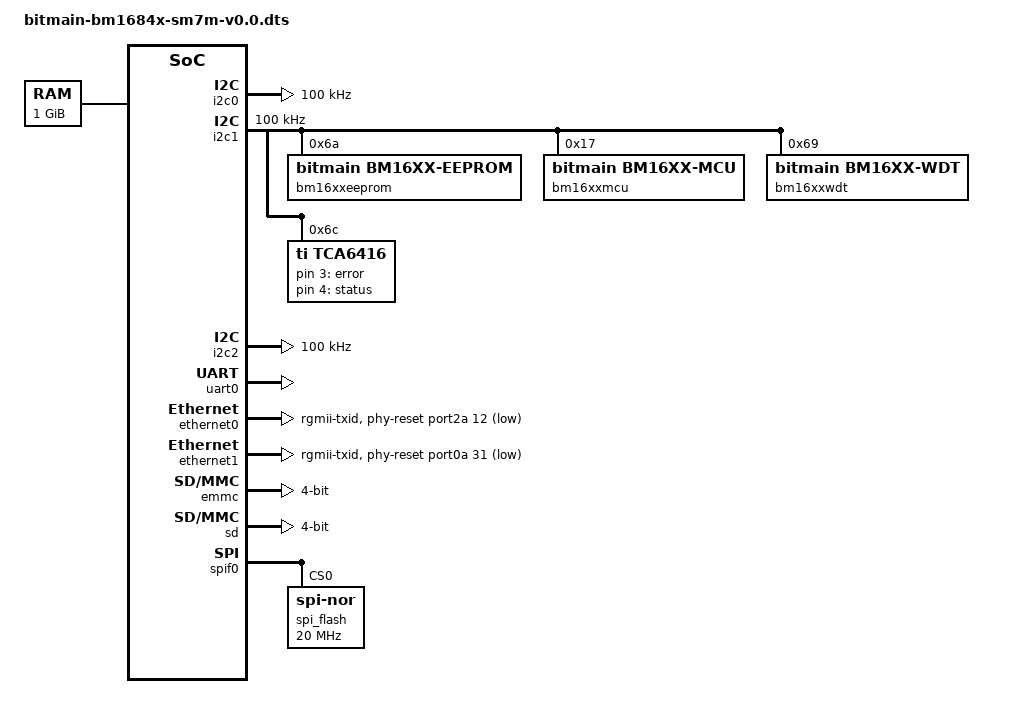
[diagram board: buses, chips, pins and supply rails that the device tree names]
/dts-v1/;

#include <dt-bindings/interrupt-controller/arm-gic.h>
#include <dt-bindings/gpio/gpio.h>

/ {
	compatible = "linux,dummy-virt";
	#size-cells = <0x2>;
	#address-cells = <0x2>;
	interrupt-parent = <&gic>;

	gic: interrupt-controller {
		compatible = "arm,cortex-a15-gic";
		ranges;
		#size-cells = <0x2>;
		#address-cells = <0x2>;
		interrupt-controller;
		#interrupt-cells = <0x3>;
		reg = <0x0 0x50001000 0x0 0x1000>,
		      <0x0 0x50002000 0x0 0x2000>;
	};

	psci {
		migrate = <0xc4000005>;
		cpu_on = <0xc4000003>;
		cpu_off = <0x84000002>;
		cpu_suspend = <0xc4000001>;
		sys_poweroff = <0x84000008>;
		sys_reset = <0x84000009>;
		method = "smc";
		compatible = "arm,psci-0.2", "arm,psci";
	};

	cpus {
		#size-cells = <0x0>;
		#address-cells = <0x1>;
		cpu-map {
			cluster0 {
				core0 {
					cpu = <&cpu0>;
				};
				core1 {
					cpu = <&cpu1>;
				};
				core2 {
					cpu = <&cpu2>;
				};
				core3 {
					cpu = <&cpu3>;
				};
		    };
			cluster1 {
				core0 {
					cpu = <&cpu4>;
				};
				core1 {
					cpu = <&cpu5>;
				};
				core2 {
					cpu = <&cpu6>;
				};
				core3 {
					cpu = <&cpu7>;
				};
			};
		};

		cpu0: cpu@0 {
			reg = <0x0>;
			enable-method = "psci";
			compatible = "arm,cortex-a53";
			device_type = "cpu";
		};

		cpu1: cpu@1 {
			reg = <0x1>;
			enable-method = "psci";
			compatible = "arm,cortex-a53";
			device_type = "cpu";
		};

		cpu2: cpu@2 {
			reg = <0x2>;
			enable-method = "psci";
			compatible = "arm,cortex-a53";
			device_type = "cpu";
		};

		cpu3: cpu@3 {
			reg = <0x3>;
			enable-method = "psci";
			compatible = "arm,cortex-a53";
			device_type = "cpu";
		};

		cpu4: cpu@100 {
			reg = <0x100>;
			enable-method = "psci";
			compatible = "arm,cortex-a53";
			device_type = "cpu";
		};

		cpu5: cpu@101 {
			reg = <0x101>;
			enable-method = "psci";
			compatible = "arm,cortex-a53";
			device_type = "cpu";
		};

		cpu6: cpu@102 {
			reg = <0x102>;
			enable-method = "psci";
			compatible = "arm,cortex-a53";
			device_type = "cpu";
		};

		cpu7: cpu@103 {
			reg = <0x103>;
			enable-method = "psci";
			compatible = "arm,cortex-a53";
			device_type = "cpu";
		};
	};

	timer {
		interrupts = <GIC_PPI 13 (GIC_CPU_MASK_SIMPLE(8) | IRQ_TYPE_LEVEL_LOW)>,
			<GIC_PPI 14 (GIC_CPU_MASK_SIMPLE(8) | IRQ_TYPE_LEVEL_LOW)>,
			<GIC_PPI 11 (GIC_CPU_MASK_SIMPLE(8) | IRQ_TYPE_LEVEL_LOW)>,
			<GIC_PPI 10 (GIC_CPU_MASK_SIMPLE(8) | IRQ_TYPE_LEVEL_LOW)>;
		always-on;
		compatible = "arm,armv8-timer";
	};

	apb_pclk {
		phandle = <0x8000>;
		clock-output-names = "clk24mhz";
		clock-frequency = <0x16e3600>;
		#clock-cells = <0x0>;
		compatible = "fixed-clock";
	};

	rst: reset-controller {
		compatible = "bitmain,bm-reset";
		reg = <0x0 0x50010C00 0x0 0x1>;
		#reset-cells = <1>;
	 };

	gpio: gpio@50027000 {
		compatible = "snps,dw-apb-gpio";
		reg = <0x0 0x50027000 0x0 0x1000>;
		#address-cells = <1>;
		#size-cells = <0>;

		port0a: gpio-controller@0 {
			compatible = "snps,dw-apb-gpio-port";
			bank-name = "port0a";
			gpio-controller;
			#gpio-cells = <2>;
			snps,nr-gpios = <32>;
			reg = <0>;
			interrupt-controller;
			interrupts = <GIC_SPI 20 IRQ_TYPE_LEVEL_HIGH>;
		};
	};

	gpio1: gpio@50027400 {
		compatible = "snps,dw-apb-gpio";
		reg = <0x0 0x50027400 0x0 0x400>;
		#address-cells = <1>;
		#size-cells = <0>;

		port1a: gpio-controller@1 {
			compatible = "snps,dw-apb-gpio-port";
			bank-name = "port1a";
			gpio-controller;
			#gpio-cells = <2>;
			snps,nr-gpios = <32>;
			reg = <0>;
			interrupt-controller;
			interrupts = <GIC_SPI 21 IRQ_TYPE_LEVEL_HIGH>;
		};
	};

	gpio2: gpio@50027800 {
		compatible = "snps,dw-apb-gpio";
		reg = <0x0 0x50027800 0x0 0x400>;
		#address-cells = <1>;
		#size-cells = <0>;

		port2a: gpio-controller@2 {
			compatible = "snps,dw-apb-gpio-port";
			bank-name = "port2a";
			gpio-controller;
			#gpio-cells = <2>;
			snps,nr-gpios = <32>;
			reg = <0>;
			interrupt-controller;
			interrupts = <GIC_SPI 22 IRQ_TYPE_LEVEL_HIGH>;
		};
	};

	i2c0: i2c@5001A000 {
		compatible = "snps,designware-i2c";
		reg = <0x0 0x5001A000 0x0 0x1000>;
		bus-clocks = <100000000>;
		clock-frequency = <100000>;
	};

	i2c1: i2c@5001C000 {
		compatible = "snps,designware-i2c";
		reg = <0x0 0x5001C000 0x0 0x1000>;
		bus-clocks = <100000000>;
		clock-frequency = <100000>;

		#address-cells = <1>;
		#size-cells = <0>;

		bm16xxeeprom@6a {
			compatible = "bitmain,bm16xx-eeprom";
			reg = <0x6a>;

			#address-cells = <1>;
			#size-cells = <1>;
			sn: sn@0000 {
				reg = <0x0000 17>;
			};

			mac0: mac0@0020 {
				reg = <0x0020 6>;
			};

			mac1: mac1@0040 {
				reg = <0x0040 6>;
			};
		};

		bm16xxmcu@17 {
			compatible = "bitmain,bm16xx-mcu";
			reg = <0x17>;

			nvmem-cells = <&sn>, <&mac0>, <&mac1>;
			nvmem-cell-names = "sn", "mac0", "mac1";
		};

		bm16xxwdt@69 {
			compatible = "bitmain,bm16xx-wdt";
			reg = <0x69>;
		};

		tca6416: tca6416@6c {
			compatible = "ti,tca6416";
			reg = <0x6c>;
			gpio-controller;
			#gpio-cells = <2>;
		};
	};

	i2c2: i2c@5001E000 {
		compatible = "snps,designware-i2c";
		reg = <0x0 0x5001E000 0x0 0x1000>;
		bus-clocks = <100000000>;
		clock-frequency = <100000>;
	};

	uart0: serial@50118000 {
		compatible = "snps,dw-apb-uart";
		reg = <0x0 0x50118000 0x0 0x1000>;
		clock-frequency = <500000000>;
		interrupts = <GIC_SPI 1 IRQ_TYPE_LEVEL_HIGH>;
		reg-shift = <2>;
		reg-io-width = <4>;
	};

	/* only support one ethernet in uboot */
	ethernet0: ethernet@50108000 {
		compatible = "snps,dwc-qos-ethernet-4.10";
		reg = <0x0 0x50108000  0x0 0x4000>;
		reg-names = "mac";
		phy-mode = "rgmii-txid";
		phy-reset-gpios = <&port2a 12 GPIO_ACTIVE_HIGH>;
		pinctrl-names = "default";
		pinctrl-0 = <&rgmii0_grp1>;
	};

	ethernet1: ethernet@5010C000 {
		compatible = "snps,dwc-qos-ethernet-4.10";
		reg = <0x0 0x5010C000  0x0 0x4000>;
		reg-names = "mac";
		phy-mode = "rgmii-txid";
		phy-reset-gpios = <&port0a 31 GPIO_ACTIVE_HIGH>;
		pinctrl-names = "default";
		pinctrl-0 = <&rgmii1_grp1>;
	};

	memory {
		reg = <0x1 0x00000000 0x0 0x40000000>;
		device_type = "memory";
	};

	aliases {
		serial0 = &uart0;
		i2c0 = &i2c0;
		i2c1 = &i2c1;
		i2c2 = &i2c2;
		spi0 = &spif0;
	};

	chosen {
		stdout-path = "serial0"; // "serial0:115200n8", no arguments means no re-initialization
	};

	emmc: sdhc@50100000 {
		compatible = "bitmain,synopsys-sdhc";
		bus-width = <4>;
		reg = <0x0 0x50100000 0x0 0x1000>;
		max-frequency = <125000000>;
		mmc_init_freq = <200000>;
		mmc_trans_freq = <125000000>;
		64_addressing;
		has_phy;
		index = <0x0>;
		status = "okay";
	};

	sd: sdhc@50101000 {
		compatible = "bitmain,synopsys-sdhc";
		bus-width = <4>;
		reg = <0x0 0x50101000 0x0 0x1000>;
		max-frequency = <50000000>;
		mmc_init_freq = <200000>;
		mmc_trans_freq = <12000000>;
		64_addressing;
		has_phy;
		index = <0x1>;
		status = "okay";
	};

	spif0: spi@6000000 {
		compatible = "bitmain,spif";
		reg = <0x0 0x6000000 0x0 0x1000>;
		status = "okay";
		#address-cells = <1>;
		#size-cells = <0>;

		spi_flash: spiflash@0 {
			compatible = "jedec,spi-nor";
			spi-max-frequency = <20000000>;
			reg = <0>;
		};
	};

	pinctrl@50010400 {
		compatible = "bitmain,bm1684-pinctrl";
		reg = <0x0 0x50010400 0x0 0x1000>;
		u-boot,dm-pre-reloc;

		rgmii0_grp1: rgmii0-grp1 {
			bitmain,pins = "GPIO76";
			bitmain,pin-mux = <1>;
			bitmain,pin-drv = <8>;
			u-boot,dm-pre-reloc;
		};

		rgmii1_grp1: rgmii1-grp1 {
			bitmain,pins = "GPIO31";
			bitmain,pin-mux = <1>;
			bitmain,pin-drv = <8>;
			u-boot,dm-pre-reloc;
		};
	};

	leds {
		compatible = "gpio-leds";
		error {
			label = "error";
			gpios = <&tca6416 3 0>;
			default-state = "on";
		};
		status {
			label = "status";
			gpios = <&tca6416 4 0>;
			default-state = "off";
		};
	};

};
